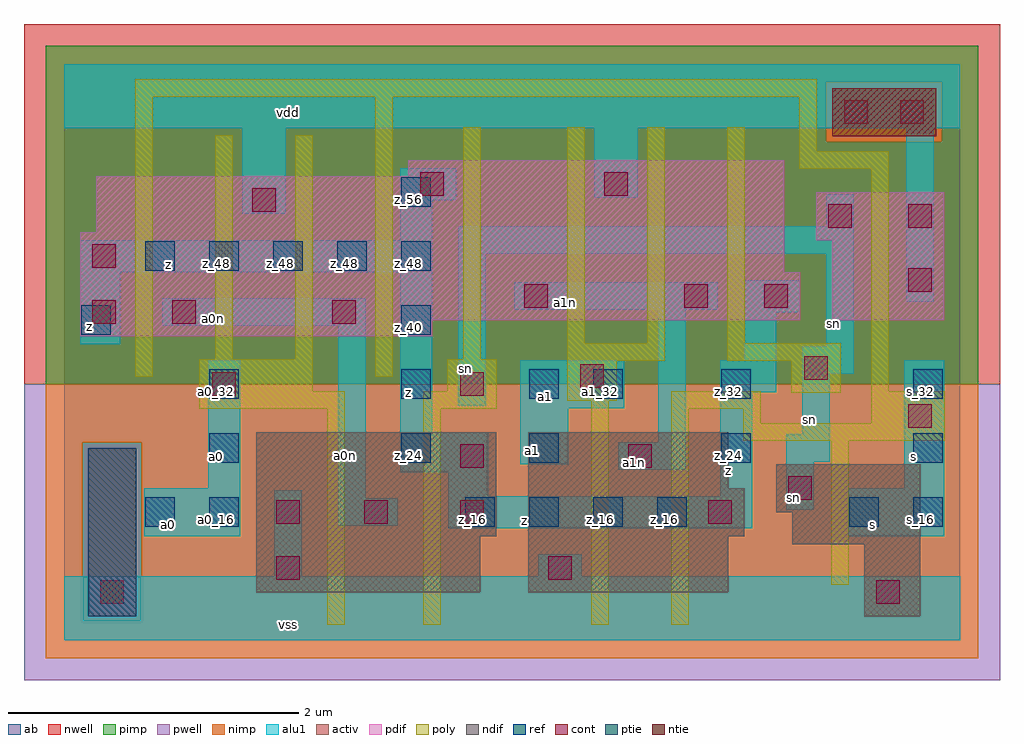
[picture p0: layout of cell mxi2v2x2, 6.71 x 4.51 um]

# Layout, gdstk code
import gdstk
lib = gdstk.Library(unit=1e-6, precision=2.5e-09)
def R(c, l, rs):  # rectangles x0, y0, x1, y1
    for r in rs: c.add(gdstk.rectangle(r[:2], r[2:], *l))
def A(c, l, x, y, w, h, nx, ny, dx, dy):  # array of equal rectangles
    R(c, l, [(x+i*dx, y+j*dy, x+i*dx+w, y+j*dy+h) for i in range(nx) for j in range(ny)])
ndif = (3, 0)
pdif = (4, 0)
ntie = (5, 0)
ptie = (6, 0)
ref = (24, 0)
cont = (25, 0)
pwell = (41, 0)
nwell = (42, 0)
activ = (43, 0)
pimp = (44, 0)
nimp = (45, 0)
poly = (46, 0)
alu1 = (49, 0)
ab = (63, 0)

mxi2v2x2 = lib.new_cell('mxi2v2x2')
R(mxi2v2x2, ndif, [(5.5,0.165,5.885,0.66), (1.32,0.33,2.86,0.715), (3.19,0.33,4.565,0.715), (5.005,0.66,5.885,0.88), (1.32,0.715,2.97,1.43), (3.19,0.715,4.675,1.045), (4.895,0.88,5.885,1.21), (3.19,1.045,4.565,1.43)])
R(mxi2v2x2, pdif, [(0.11,2.09,2.53,2.2), (0.11,2.2,5.06,2.53), (5.28,2.2,6.05,2.75), (0.11,2.53,4.95,2.805), (5.17,2.75,6.05,3.08), (0.22,2.805,4.95,3.19), (2.365,3.19,4.95,3.3)])
R(mxi2v2x2, ntie, [(5.28,3.465,5.995,3.795)])
R(mxi2v2x2, ptie, [(0.165,0.165,0.495,1.32)])
A(mxi2v2x2, ref, 1, 0.78, 0.2, 0.2, 1, 3, 0, 0.44)
A(mxi2v2x2, ref, 2.76, 0.78, 0.2, 0.2, 4, 1, 0.44, 0)
A(mxi2v2x2, ref, 2.32, 1.22, 0.2, 0.2, 1, 3, 0, 0.44)
A(mxi2v2x2, ref, 3.2, 1.22, 0.2, 0.2, 3, 1, 1.32, 0)
A(mxi2v2x2, ref, 0.56, 2.54, 0.2, 0.2, 5, 1, 0.44, 0)
R(mxi2v2x2, ref, [(0.56,0.78,0.76,0.98), (5.4,0.78,5.6,0.98), (5.84,0.78,6.04,0.98), (3.2,1.66,3.4,1.86), (3.64,1.66,3.84,1.86), (4.52,1.66,4.72,1.86), (5.84,1.66,6.04,1.86), (0.12,2.1,0.32,2.3), (2.32,2.98,2.52,3.18)])
R(mxi2v2x2, cont, [(0.25,0.25,0.41,0.41), (5.585,0.25,5.745,0.41), (1.46,0.415,1.62,0.575), (3.33,0.415,3.49,0.575), (1.46,0.8,1.62,0.96), (2.065,0.8,2.225,0.96), (2.725,0.8,2.885,0.96), (4.43,0.8,4.59,0.96), (4.98,0.965,5.14,1.125), (2.725,1.185,2.885,1.345), (3.88,1.185,4.04,1.345), (5.805,1.46,5.965,1.62), (1.02,1.68,1.18,1.84), (2.725,1.68,2.885,1.84), (3.55,1.735,3.71,1.895), (5.09,1.79,5.25,1.95), (0.195,2.175,0.355,2.335), (0.745,2.175,0.905,2.335), (1.845,2.175,2.005,2.335), (3.165,2.285,3.325,2.445), (4.265,2.285,4.425,2.445), (4.815,2.285,4.975,2.445), (5.805,2.395,5.965,2.555), (0.195,2.56,0.355,2.72), (5.255,2.835,5.415,2.995), (5.805,2.835,5.965,2.995), (1.295,2.945,1.455,3.105), (2.45,3.055,2.61,3.215), (3.715,3.055,3.875,3.215), (5.365,3.55,5.525,3.71), (5.75,3.55,5.91,3.71)])
R(mxi2v2x2, pwell, [(-0.275,-0.275,6.435,1.76)])
R(mxi2v2x2, nwell, [(-0.275,1.76,6.435,4.235)])
R(mxi2v2x2, activ, [(0.165,0.165,0.495,1.32), (5.5,0.165,5.885,0.66), (1.32,0.33,2.86,0.715), (3.19,0.33,4.565,0.715), (5.005,0.66,5.885,0.88), (1.32,0.715,2.97,1.43), (3.19,0.715,4.675,1.045), (4.895,0.88,5.885,1.21), (3.19,1.045,4.565,1.43), (0.11,2.09,2.53,2.2), (0.11,2.2,5.06,2.53), (5.28,2.2,6.05,2.75), (0.11,2.53,4.95,2.805), (5.17,2.75,6.05,3.08), (0.22,2.805,4.95,3.19), (2.365,3.19,4.95,3.3), (5.28,3.465,5.995,3.795)])
R(mxi2v2x2, pimp, [(0.125,0.125,0.535,1.36), (-0.125,1.76,6.285,3.425), (-0.125,3.425,5.24,3.835), (6.035,3.425,6.285,3.835), (-0.125,3.835,6.285,4.085)])
R(mxi2v2x2, nimp, [(-0.125,-0.125,6.285,0.125), (-0.125,0.125,0.125,1.36), (0.535,0.125,6.285,1.36), (-0.125,1.36,6.285,1.76), (5.24,3.425,6.035,3.835)])
A(mxi2v2x2, poly, 3.46, 2.04, 0.12, 1.485, 3, 1, 0.55, 0)
R(mxi2v2x2, poly, [(1.81,0.105,1.93,1.59), (2.47,0.105,2.59,1.59), (3.625,0.105,3.745,1.645), (4.175,0.105,4.295,1.59), (5.275,0.38,5.395,1.37), (4.67,1.37,6.055,1.49), (4.67,1.49,4.79,1.59), (5.55,1.49,6.055,1.71), (0.93,1.59,1.93,1.71), (2.47,1.59,2.975,1.71), (4.175,1.59,4.79,1.71), (3.46,1.645,3.8,1.92), (5,1.7,5.34,1.92), (0.93,1.71,1.71,1.93), (2.635,1.71,2.975,1.93), (5.55,1.71,5.67,3.24), (0.49,1.81,0.61,3.735), (2.14,1.81,2.26,3.735), (3.46,1.92,4.13,2.04), (4.56,1.92,5.34,2.04), (1.04,1.93,1.16,3.47), (1.59,1.93,1.71,3.47), (2.745,1.93,2.865,3.525), (5.055,3.24,5.67,3.36), (5.055,3.36,5.175,3.735), (0.49,3.735,5.175,3.855)])
R(mxi2v2x2, alu1, [(0,0,6.16,0.44), (1.445,0.44,1.635,1.03), (3.26,0.44,3.56,0.59), (0.55,0.715,1.21,1.045), (5.39,0.715,6.05,1.045), (2.64,0.77,4.73,0.99), (1.885,0.785,2.295,0.975), (4.965,0.895,5.155,1.225), (1.885,0.975,2.075,2.16), (2.64,0.99,2.915,1.155), (4.51,0.99,4.73,1.705), (0.99,1.045,1.21,1.925), (5.775,1.045,6.05,1.925), (2.31,1.155,2.915,1.43), (3.81,1.17,4.275,1.36), (3.135,1.21,3.465,1.595), (4.965,1.225,5.265,1.415), (4.085,1.36,4.275,2.27), (5.075,1.415,5.265,1.83), (2.31,1.43,2.53,2.53), (3.135,1.595,3.85,1.925), (2.71,1.61,2.9,2.655), (4.51,1.705,4.895,1.925), (5.075,1.83,5.43,2.02), (4.675,1.925,4.895,2.255), (5.24,2.02,5.43,2.655), (0.11,2.035,0.385,2.53), (0.675,2.16,2.075,2.35), (4.675,2.255,5.06,2.475), (3.095,2.27,4.495,2.46), (5.79,2.325,5.98,3.52), (0.11,2.53,2.53,2.75), (2.71,2.655,5.43,2.845), (2.31,2.75,2.53,3.025), (5.24,2.845,5.43,3.065), (1.225,2.93,1.525,3.52), (2.31,3.025,2.695,3.245), (3.645,3.04,3.945,3.52), (0,3.52,6.16,3.96)])
R(mxi2v2x2, ab, [(0,0,6.16,3.96)])
mxi2v2x2.add(gdstk.Label('vss', (1.54,0.11), layer=49, texttype=0))
mxi2v2x2.add(gdstk.Label('s', (5.555,0.7975), layer=49, texttype=0))
mxi2v2x2.add(gdstk.Label('s', (5.8425,1.265), layer=49, texttype=0))
mxi2v2x2.add(gdstk.Label('sn', (5.0125,0.9775), layer=49, texttype=0))
mxi2v2x2.add(gdstk.Label('z', (3.1625,0.825), layer=49, texttype=0))
mxi2v2x2.add(gdstk.Label('sn', (5.1225,1.5175), layer=49, texttype=0))
mxi2v2x2.add(gdstk.Label('z', (4.565,1.1675), layer=49, texttype=0))
mxi2v2x2.add(gdstk.Label('a1n', (3.925,1.2175), layer=49, texttype=0))
mxi2v2x2.add(gdstk.Label('sn', (5.2875,2.1775), layer=49, texttype=0))
mxi2v2x2.add(gdstk.Label('a1', (3.2175,1.305), layer=49, texttype=0))
mxi2v2x2.add(gdstk.Label('a1', (3.3125,1.6775), layer=49, texttype=0))
mxi2v2x2.add(gdstk.Label('a1n', (3.445,2.3175), layer=49, texttype=0))
mxi2v2x2.add(gdstk.Label('sn', (2.7575,1.87), layer=49, texttype=0))
mxi2v2x2.add(gdstk.Label('z', (2.365,1.705), layer=49, texttype=0))
mxi2v2x2.add(gdstk.Label('a0n', (1.9325,1.27), layer=49, texttype=0))
mxi2v2x2.add(gdstk.Label('a0', (0.715,0.7975), layer=49, texttype=0))
mxi2v2x2.add(gdstk.Label('a0', (1.045,1.265), layer=49, texttype=0))
mxi2v2x2.add(gdstk.Label('a0n', (1.025,2.2075), layer=49, texttype=0))
mxi2v2x2.add(gdstk.Label('z', (0.1775,2.1575), layer=49, texttype=0))
mxi2v2x2.add(gdstk.Label('z', (0.715,2.585), layer=49, texttype=0))
mxi2v2x2.add(gdstk.Label('vdd', (1.54,3.63), layer=49, texttype=0))
mxi2v2x2.add(gdstk.Label('a1_32', (3.69,1.71), layer=24, texttype=0))
mxi2v2x2.add(gdstk.Label('a1_32', (3.25,1.71), layer=24, texttype=0))
mxi2v2x2.add(gdstk.Label('s_16', (5.45,0.83), layer=24, texttype=0))
mxi2v2x2.add(gdstk.Label('s_16', (5.89,0.83), layer=24, texttype=0))
mxi2v2x2.add(gdstk.Label('s_24', (5.89,1.27), layer=24, texttype=0))
mxi2v2x2.add(gdstk.Label('z_32', (4.57,1.71), layer=24, texttype=0))
mxi2v2x2.add(gdstk.Label('z_24', (4.57,1.27), layer=24, texttype=0))
mxi2v2x2.add(gdstk.Label('z_16', (4.13,0.83), layer=24, texttype=0))
mxi2v2x2.add(gdstk.Label('z_16', (3.69,0.83), layer=24, texttype=0))
mxi2v2x2.add(gdstk.Label('z_16', (3.25,0.83), layer=24, texttype=0))
mxi2v2x2.add(gdstk.Label('z_16', (2.81,0.83), layer=24, texttype=0))
mxi2v2x2.add(gdstk.Label('z_32', (2.37,1.71), layer=24, texttype=0))
mxi2v2x2.add(gdstk.Label('z_40', (2.37,2.15), layer=24, texttype=0))
mxi2v2x2.add(gdstk.Label('z_48', (2.37,2.59), layer=24, texttype=0))
mxi2v2x2.add(gdstk.Label('a1_24', (3.25,1.27), layer=24, texttype=0))
mxi2v2x2.add(gdstk.Label('s_32', (5.89,1.71), layer=24, texttype=0))
mxi2v2x2.add(gdstk.Label('a0_16', (1.05,0.83), layer=24, texttype=0))
mxi2v2x2.add(gdstk.Label('z_56', (2.37,3.03), layer=24, texttype=0))
mxi2v2x2.add(gdstk.Label('a0_32', (1.05,1.71), layer=24, texttype=0))
mxi2v2x2.add(gdstk.Label('a0_24', (1.05,1.27), layer=24, texttype=0))
mxi2v2x2.add(gdstk.Label('z_24', (2.37,1.27), layer=24, texttype=0))
mxi2v2x2.add(gdstk.Label('z_48', (1.93,2.59), layer=24, texttype=0))
mxi2v2x2.add(gdstk.Label('z_48', (1.49,2.59), layer=24, texttype=0))
mxi2v2x2.add(gdstk.Label('z_48', (1.05,2.59), layer=24, texttype=0))
mxi2v2x2.add(gdstk.Label('z_48', (0.61,2.59), layer=24, texttype=0))
mxi2v2x2.add(gdstk.Label('a0_32', (0.61,0.83), layer=24, texttype=0))
mxi2v2x2.add(gdstk.Label('z_40', (0.17,2.15), layer=24, texttype=0))

lib.write_gds('mxi2v2x2.gds')
